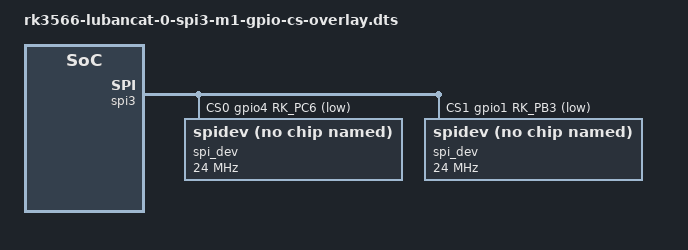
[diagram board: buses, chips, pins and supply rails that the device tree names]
/dts-v1/;
/plugin/;

#include <dt-bindings/gpio/gpio.h>
#include <dt-bindings/pinctrl/rockchip.h>

/ {

	fragment@0 {
		target = <&spi3>;

		__overlay__ {
			status = "okay";
			#address-cells = <1>;
			#size-cells = <0>;
			// SPI gpio模拟多个cs信号 
			pinctrl-names = "default", "high_speed";
			pinctrl-0 = <&spi3_cs0 &spi3_cs1 &spi3m1_pins>;
			pinctrl-1 = <&spi3_cs0 &spi3_cs1 &spi3m1_pins_hs>;
			cs-gpios = <&gpio4 RK_PC6 GPIO_ACTIVE_LOW>, <&gpio1 RK_PB3 GPIO_ACTIVE_LOW>;

			spi_dev@00 {
				compatible = "rockchip,spidev";
				reg = <0>; //chip select 0:cs0  1:cs1
				spi-max-frequency = <24000000>; //spi output clock
			};

			spi_dev@01 {
				compatible = "rockchip,spidev";
				reg = <1>;
				spi-max-frequency = <24000000>;
			};
		};
	};
};
